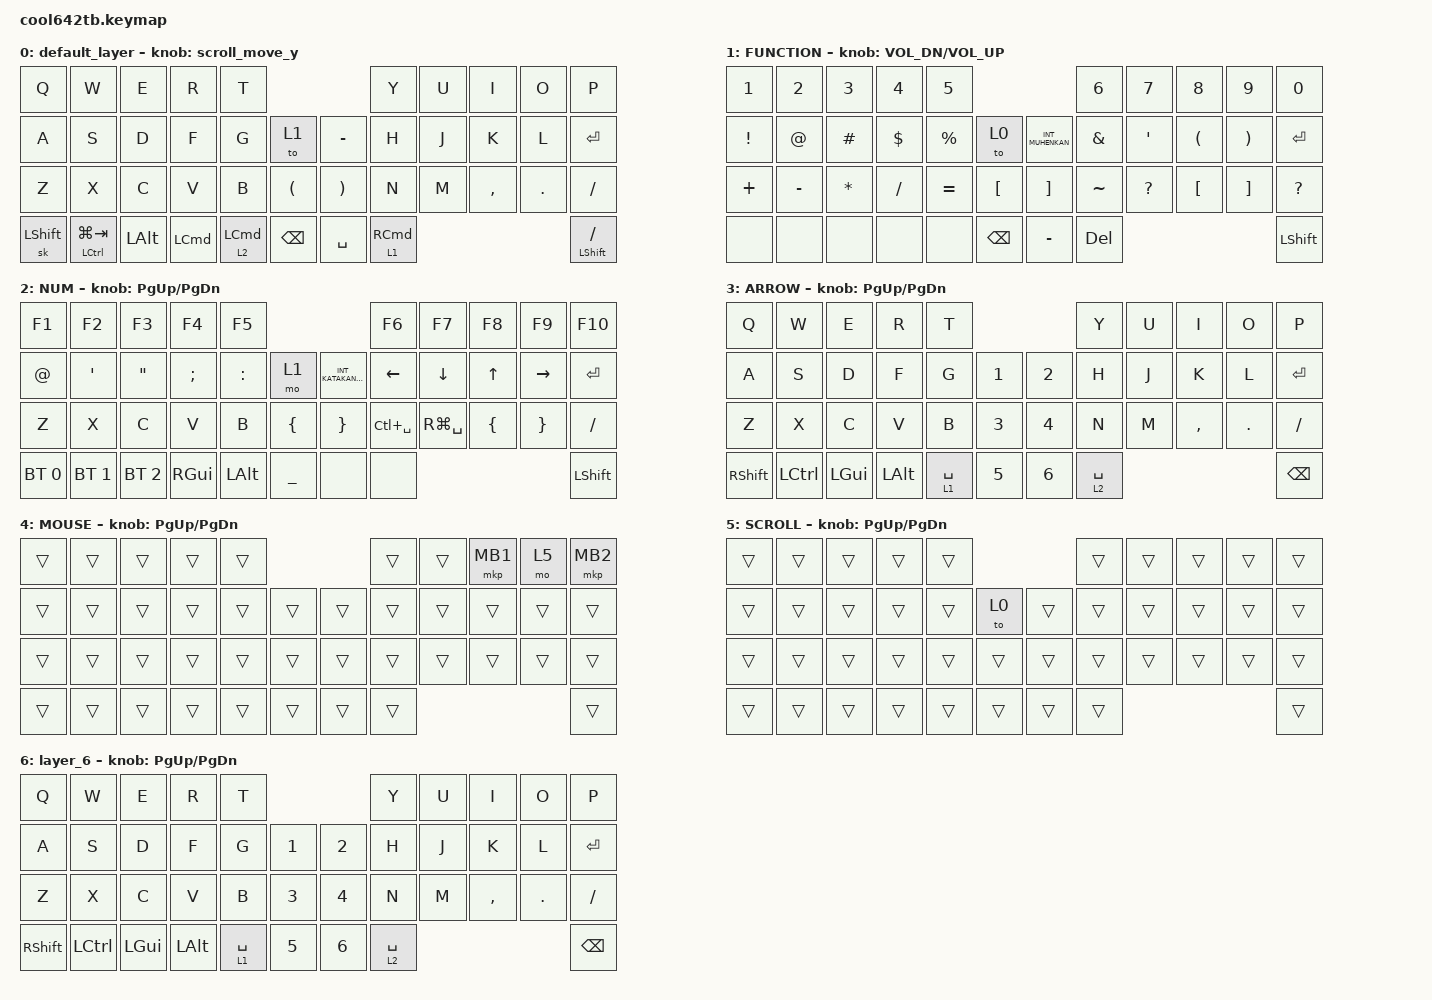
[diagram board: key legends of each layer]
#include <behaviors.dtsi>
#include <dt-bindings/zmk/bt.h>
#include <dt-bindings/zmk/keys.h>
#include <dt-bindings/zmk/pointing.h>

#define ZMK_MOUSE_DEFAULT_SCRL_VAL 100
#define MOUSE 4
#define SCROLL 5
#define NUM 6

&mkp_input_listener { input-processors = <&zip_temp_layer 4 400>; };

&lt { flavor = "hold-preferred"; };

&mt {
    flavor = "balanced";
    quick-tap-ms = <0>;
};

&sk {
    release-after-ms = <1000>;
    quick-release;
};

&caps_word { continue-list = <UNDERSCORE MINUS BACKSPACE DELETE>; };

/ {
    combos {
        compatible = "zmk,combos";

        comb1 {
            bindings = <&kp TAB>;
            key-positions = <11 12>;
            timeout-ms = <60>;
            require-prior-idle-ms = <150>;
        };

        comb_shift_tab {
            bindings = <&kp LS(TAB)>;
            key-positions = <12 13>;
            timeout-ms = <60>;
            require-prior-idle-ms = <150>;
        };

        comb2 {
            bindings = <&kp ESCAPE>;
            key-positions = <0 1>;
        };

        comb3 {
            bindings = <&caps_word>;
            key-positions = <22 23>;
        };

        comb4 {
            bindings = <&kp BACKSPACE>;
            key-positions = <9 8>;
        };

        comb5 {
            bindings = <&bt BT_CLR_ALL>;
            key-positions = <9 8>;
            timeout-ms = <0>;
            layers = <2>;
        };

        MS_BTN1_ {
            bindings = <&mkp MB1>;
            key-positions = <38 39>;
        };

        MS_BTN2_ {
            bindings = <&mkp MB2>;
            key-positions = <38 37>;
        };
    };

    macros {
        to_layer_0: to_layer_0 {
            compatible = "zmk,behavior-macro-one-param";
            #binding-cells = <1>;
            bindings = <&to 0 &macro_param_1to1 &kp MACRO_PLACEHOLDER>;
            label = "TO_LAYER_0";
        };

        exit_AML: exit_AML {
            compatible = "zmk,behavior-macro";
            wait-ms = <0>;
            tap-ms = <0>;
            #binding-cells = <0>;
            bindings = <&tog_off MOUSE>;
            label = "exit_AML";
        };

        kp_exit_AML: kp_exit_AML {
            compatible = "zmk,behavior-macro-one-param";
            wait-ms = <0>;
            tap-ms = <0>;
            #binding-cells = <1>;
            bindings = <&macro_param_1to1 &kp MACRO_PLACEHOLDER &exit_AML>;
            label = "KP_exit_AML";
        };
    };

    behaviors {
        lt_to_layer_0: lt_to_layer_0 {
            compatible = "zmk,behavior-hold-tap";
            label = "LAYER_TAP_TO_0";
            bindings = <&mo>, <&to_layer_0>;

            #binding-cells = <2>;
            tapping-term-ms = <200>;
        };

        tog_off: toggle_layer_off {
            compatible = "zmk,behavior-toggle-layer";
            #binding-cells = <1>;
            display-name = "Toggle Layer Off";
            toggle-mode = "off";
        };

        mt_exit_AML_on_tap: mt_exit_AML_on_tap {
            compatible = "zmk,behavior-hold-tap";
            label = "MT_exit_AML_ON_TAP";
            bindings = <&kp>, <&kp_exit_AML>;

            #binding-cells = <2>;
            tapping-term-ms = <200>;
            flavor = "balanced";
            quick-tap-ms = <200>;
        };

        scroll_up_down: behavior_sensor_rotate_mouse_wheel_up_down {
            compatible = "zmk,behavior-sensor-rotate";
            #sensor-binding-cells = <0>;
            bindings = <&msc SCRL_UP>, <&msc SCRL_DOWN>;

            tap-ms = <20>;
        };
    };

    // エンコーダー：キー

    rot_kp: sensor_rotate_kp {
        compatible = "zmk,behavior-sensor-rotate-var";
        #sensor-binding-cells = <2>;
        bindings = <&kp>, <&kp>;
    };

    // エンコーダー：マウススクロール 

    rot_msc: sensor_rotate_msc {
        compatible = "zmk,behavior-sensor-rotate-var";
        #sensor-binding-cells = <2>;
        tap-ms = <20>;
        bindings = <&msc>, <&msc>;
    };

    // エンコーダー：マウススクロール(MOVE_Y)

    scroll_move_y: sensor_rotate_msc_for_move_y {
        compatible = "zmk,behavior-sensor-rotate";
        #sensor-binding-cells = <0>;
        bindings = <&msc MOVE_Y(20)>, <&msc MOVE_Y(-20)>;

        // tap-ms下限メモ Yの値で可変: Y(15) <81>, Y(20) <65>, Y(25) <49>

        tap-ms = <65>;
    };

    // エンコーダー：マウススクロール(MOVE_X)

    scroll_move_x: sensor_rotate_msc_for_move_x {
        compatible = "zmk,behavior-sensor-rotate";
        #sensor-binding-cells = <0>;
        bindings = <&msc MOVE_X(20)>, <&msc MOVE_X(-20)>;

        // tap-ms下限メモ Xの値で可変: X(15) <81>, X(20) <65>, X(25) <49>

        tap-ms = <65>;
    };

    keymap {
        compatible = "zmk,keymap";

        default_layer {
            bindings = <
&kp Q           &kp W        &kp E         &kp R             &kp T                                                            &kp Y                &kp U  &kp I      &kp O       &kp P
&kp A           &kp S        &kp D         &kp F             &kp G               &to 1                 &kp MINUS              &kp H                &kp J  &kp K      &kp L       &kp ENTER
&kp Z           &kp X        &kp C         &kp V             &kp B               &kp LEFT_PARENTHESIS  &kp RIGHT_PARENTHESIS  &kp N                &kp M  &kp COMMA  &kp PERIOD  &kp SLASH
&sk LEFT_SHIFT  &mt LCTRL LG(TAB)  &kp LEFT_ALT  &kp LEFT_COMMAND  &lt 2 LEFT_COMMAND  &kp BACKSPACE         &kp SPACE              &lt 1 RIGHT_COMMAND                                &mt_exit_AML_on_tap LEFT_SHIFT SLASH
            >;

            sensor-bindings = <&scroll_move_y>;
        };

        FUNCTION {
            bindings = <
&kp N1           &kp N2       &kp N3        &kp N4      &kp N5                                            &kp N6         &kp N7        &kp N8                &kp N9                 &kp N0
&kp EXCLAMATION  &kp AT_SIGN  &kp HASH      &kp DOLLAR  &kp PERCENT  &to 0             &kp INT_MUHENKAN   &kp AMPERSAND  &kp SQT       &kp LEFT_PARENTHESIS  &kp RIGHT_PARENTHESIS  &kp ENTER
&kp PLUS         &kp MINUS    &kp ASTERISK  &kp SLASH   &kp EQUAL    &kp LEFT_BRACKET  &kp RIGHT_BRACKET  &kp TILDE      &kp QUESTION  &kp LEFT_BRACKET      &kp RIGHT_BRACKET      &kp QUESTION
&none            &none        &none         &none       &none        &kp BACKSPACE     &kp MINUS          &kp DEL                                                                   &kp LEFT_SHIFT
            >;

            sensor-bindings = <&inc_dec_kp C_VOL_DN C_VOL_UP>;
        };

        NUM {
            bindings = <
&kp F1        &kp F2        &kp F3             &kp F4         &kp F5                                                  &kp F6         &kp F7          &kp F8          &kp F9           &kp F10
&kp AT_SIGN   &kp SQT       &kp DOUBLE_QUOTES  &kp SEMICOLON  &kp COLON     &mo 1           &kp INT_KATAKANAHIRAGANA  &kp LEFT       &kp DOWN_ARROW  &kp UP_ARROW    &kp RIGHT        &kp ENTER
&kp Z         &kp X         &kp C              &kp V          &kp B         &kp LEFT_BRACE  &kp RIGHT_BRACE           &kp LC(SPACE)  &kp RG(SPACE)   &kp LEFT_BRACE  &kp RIGHT_BRACE  &kp SLASH
&bt BT_SEL 0  &bt BT_SEL 1  &bt BT_SEL 2       &kp RGUI       &kp LEFT_ALT  &kp UNDERSCORE  &none                     &none                                                           &kp LEFT_SHIFT
            >;

            sensor-bindings = <&inc_dec_kp PG_UP PAGE_DOWN>;
        };

        ARROW {
            bindings = <
&kp Q       &kp W      &kp E     &kp R     &kp T                        &kp Y        &kp U  &kp I      &kp O       &kp P
&kp A       &kp S      &kp D     &kp F     &kp G        &kp N1  &kp N2  &kp H        &kp J  &kp K      &kp L       &kp ENTER
&kp Z       &kp X      &kp C     &kp V     &kp B        &kp N3  &kp N4  &kp N        &kp M  &kp COMMA  &kp PERIOD  &kp SLASH
&kp RSHIFT  &kp LCTRL  &kp LGUI  &kp LALT  &lt 1 SPACE  &kp N5  &kp N6  &lt 2 SPACE                                &kp BSPC
            >;

            sensor-bindings = <&inc_dec_kp PG_UP PAGE_DOWN>;
        };

        MOUSE {
            bindings = <
&trans  &trans  &trans  &trans  &trans                  &trans  &trans  &mkp MB1  &mo 5   &mkp MB2
&trans  &trans  &trans  &trans  &trans  &trans  &trans  &trans  &trans  &trans    &trans  &trans
&trans  &trans  &trans  &trans  &trans  &trans  &trans  &trans  &trans  &trans    &trans  &trans
&trans  &trans  &trans  &trans  &trans  &trans  &trans  &trans                            &trans
            >;

            sensor-bindings = <&inc_dec_kp PG_UP PAGE_DOWN>;
        };

        SCROLL {
            bindings = <
&trans  &trans  &trans  &trans  &trans                  &trans  &trans  &trans  &trans  &trans
&trans  &trans  &trans  &trans  &trans  &to 0   &trans  &trans  &trans  &trans  &trans  &trans
&trans  &trans  &trans  &trans  &trans  &trans  &trans  &trans  &trans  &trans  &trans  &trans
&trans  &trans  &trans  &trans  &trans  &trans  &trans  &trans                          &trans
            >;

            sensor-bindings = <&inc_dec_kp PG_UP PAGE_DOWN>;
        };

        layer_6 {
            bindings = <
&kp Q       &kp W      &kp E     &kp R     &kp T                        &kp Y        &kp U  &kp I      &kp O       &kp P
&kp A       &kp S      &kp D     &kp F     &kp G        &kp N1  &kp N2  &kp H        &kp J  &kp K      &kp L       &kp ENTER
&kp Z       &kp X      &kp C     &kp V     &kp B        &kp N3  &kp N4  &kp N        &kp M  &kp COMMA  &kp PERIOD  &kp SLASH
&kp RSHIFT  &kp LCTRL  &kp LGUI  &kp LALT  &lt 1 SPACE  &kp N5  &kp N6  &lt 2 SPACE                                &kp BSPC
            >;

            sensor-bindings = <&inc_dec_kp PG_UP PAGE_DOWN>;
        };
    };
};
